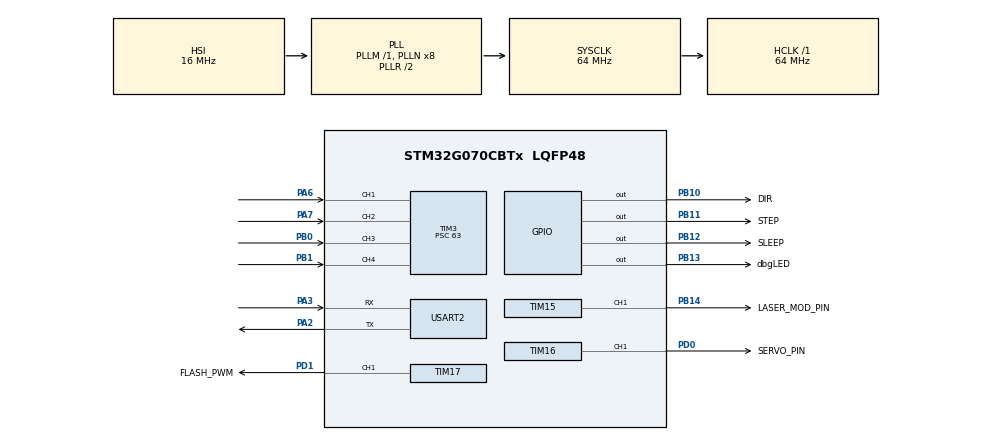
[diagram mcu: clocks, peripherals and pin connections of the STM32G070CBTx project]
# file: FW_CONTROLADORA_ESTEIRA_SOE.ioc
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Dma.Request0=TIM3_CH1
Dma.Request1=TIM3_CH2
Dma.Request2=TIM3_CH3
Dma.Request3=TIM3_CH4
Dma.TIM3_CH1.0.Direction=DMA_PERIPH_TO_MEMORY
Dma.TIM3_CH1.0.EventEnable=DISABLE
Dma.TIM3_CH1.0.Instance=DMA1_Channel1
Dma.TIM3_CH1.0.MemDataAlignment=DMA_MDATAALIGN_WORD
Dma.TIM3_CH1.0.MemInc=DMA_MINC_ENABLE
Dma.TIM3_CH1.0.Mode=DMA_NORMAL
Dma.TIM3_CH1.0.PeriphDataAlignment=DMA_PDATAALIGN_WORD
Dma.TIM3_CH1.0.PeriphInc=DMA_PINC_DISABLE
Dma.TIM3_CH1.0.Polarity=HAL_DMAMUX_REQ_GEN_RISING
Dma.TIM3_CH1.0.Priority=DMA_PRIORITY_LOW
Dma.TIM3_CH1.0.RequestNumber=1
Dma.TIM3_CH1.0.SignalID=NONE
Dma.TIM3_CH1.0.SyncEnable=DISABLE
Dma.TIM3_CH1.0.SyncPolarity=HAL_DMAMUX_SYNC_NO_EVENT
Dma.TIM3_CH1.0.SyncRequestNumber=1
Dma.TIM3_CH1.0.SyncSignalID=NONE
Dma.TIM3_CH2.1.Direction=DMA_PERIPH_TO_MEMORY
Dma.TIM3_CH2.1.EventEnable=DISABLE
Dma.TIM3_CH2.1.Instance=DMA1_Channel2
Dma.TIM3_CH2.1.MemDataAlignment=DMA_MDATAALIGN_WORD
Dma.TIM3_CH2.1.MemInc=DMA_MINC_ENABLE
Dma.TIM3_CH2.1.Mode=DMA_NORMAL
Dma.TIM3_CH2.1.PeriphDataAlignment=DMA_PDATAALIGN_WORD
Dma.TIM3_CH2.1.PeriphInc=DMA_PINC_DISABLE
Dma.TIM3_CH2.1.Polarity=HAL_DMAMUX_REQ_GEN_RISING
Dma.TIM3_CH2.1.Priority=DMA_PRIORITY_LOW
Dma.TIM3_CH2.1.RequestNumber=1
Dma.TIM3_CH2.1.SignalID=NONE
Dma.TIM3_CH2.1.SyncEnable=DISABLE
Dma.TIM3_CH2.1.SyncPolarity=HAL_DMAMUX_SYNC_NO_EVENT
Dma.TIM3_CH2.1.SyncRequestNumber=1
Dma.TIM3_CH2.1.SyncSignalID=NONE
Dma.TIM3_CH3.2.Direction=DMA_PERIPH_TO_MEMORY
Dma.TIM3_CH3.2.EventEnable=DISABLE
Dma.TIM3_CH3.2.Instance=DMA1_Channel3
Dma.TIM3_CH3.2.MemDataAlignment=DMA_MDATAALIGN_WORD
Dma.TIM3_CH3.2.MemInc=DMA_MINC_ENABLE
Dma.TIM3_CH3.2.Mode=DMA_NORMAL
Dma.TIM3_CH3.2.PeriphDataAlignment=DMA_PDATAALIGN_WORD
Dma.TIM3_CH3.2.PeriphInc=DMA_PINC_DISABLE
Dma.TIM3_CH3.2.Polarity=HAL_DMAMUX_REQ_GEN_RISING
Dma.TIM3_CH3.2.Priority=DMA_PRIORITY_LOW
Dma.TIM3_CH3.2.RequestNumber=1
Dma.TIM3_CH3.2.SignalID=NONE
Dma.TIM3_CH3.2.SyncEnable=DISABLE
Dma.TIM3_CH3.2.SyncPolarity=HAL_DMAMUX_SYNC_NO_EVENT
Dma.TIM3_CH3.2.SyncRequestNumber=1
Dma.TIM3_CH3.2.SyncSignalID=NONE
Dma.TIM3_CH4.3.Direction=DMA_PERIPH_TO_MEMORY
Dma.TIM3_CH4.3.EventEnable=DISABLE
Dma.TIM3_CH4.3.Instance=DMA1_Channel4
Dma.TIM3_CH4.3.MemDataAlignment=DMA_MDATAALIGN_WORD
Dma.TIM3_CH4.3.MemInc=DMA_MINC_ENABLE
Dma.TIM3_CH4.3.Mode=DMA_NORMAL
Dma.TIM3_CH4.3.PeriphDataAlignment=DMA_PDATAALIGN_WORD
Dma.TIM3_CH4.3.PeriphInc=DMA_PINC_DISABLE
Dma.TIM3_CH4.3.Polarity=HAL_DMAMUX_REQ_GEN_RISING
Dma.TIM3_CH4.3.Priority=DMA_PRIORITY_LOW
Dma.TIM3_CH4.3.RequestNumber=1
Dma.TIM3_CH4.3.SignalID=NONE
Dma.TIM3_CH4.3.SyncEnable=DISABLE
Dma.TIM3_CH4.3.SyncPolarity=HAL_DMAMUX_SYNC_NO_EVENT
Dma.TIM3_CH4.3.SyncRequestNumber=1
Dma.TIM3_CH4.3.SyncSignalID=NONE
Mcu.Family=STM32G0
Mcu.Name=STM32G070CBTx
Mcu.Package=LQFP48
NVIC.DMA1_Ch4_7_DMAMUX1_OVR_IRQn=true\:0\:0\:false\:false\:true\:false\:true\:true
NVIC.DMA1_Channel1_IRQn=true\:0\:0\:false\:false\:true\:false\:true\:true
NVIC.DMA1_Channel2_3_IRQn=true\:0\:0\:false\:false\:true\:false\:true\:true
NVIC.TIM6_IRQn=true\:0\:0\:false\:false\:true\:true\:true\:true
NVIC.USART2_IRQn=true\:0\:0\:false\:false\:true\:true\:true\:true
PA13.Mode=Serial_Wire
PA13.Signal=SYS_SWDIO
PA14-BOOT0.Mode=Serial_Wire
PA14-BOOT0.Signal=SYS_SWCLK
PA2.Mode=Asynchronous
PA2.Signal=USART2_TX
PA3.Mode=Asynchronous
PA3.Signal=USART2_RX
PA6.Signal=S_TIM3_CH1
PA7.Signal=S_TIM3_CH2
PB0.Signal=S_TIM3_CH3
PB1.Signal=S_TIM3_CH4
PB10.GPIO_Label=DIR
PB10.Signal=GPIO_Output
PB11.GPIO_Label=STEP
PB11.Signal=GPIO_Output
PB12.GPIO_Label=SLEEP
PB12.Signal=GPIO_Output
PB13.GPIO_Label=dbgLED
PB13.Signal=GPIO_Output
PB14.GPIO_Label=LASER_MOD_PIN
PB14.Signal=S_TIM15_CH1
PD0.GPIO_Label=SERVO_PIN
PD0.Signal=S_TIM16_CH1
PD1.GPIO_Label=FLASH_PWM
PD1.Signal=S_TIM17_CH1
ProjectManager.HeapSize=0x200
ProjectManager.StackSize=0x400
ProjectManager.TargetToolchain=STM32CubeIDE
RCC.ADCFreq_Value=64000000
RCC.AHBFreq_Value=64000000
RCC.CortexFreq_Value=64000000
RCC.EXTERNAL_CLOCK_VALUE=48000
RCC.HCLKFreq_Value=64000000
RCC.HSE_VALUE=8000000
RCC.HSI_VALUE=16000000
RCC.LSE_VALUE=32768
RCC.SYSCLKFreq_VALUE=64000000
RCC.SYSCLKSource=RCC_SYSCLKSOURCE_PLLCLK
RCC.VCOOutputFreq_Value=128000000
SH.S_TIM15_CH1.0=TIM15_CH1,PWM Generation1 CH1
SH.S_TIM16_CH1.0=TIM16_CH1,PWM Generation1 CH1
SH.S_TIM17_CH1.0=TIM17_CH1,PWM Generation1 CH1
SH.S_TIM3_CH1.0=TIM3_CH1,Input_Capture1_from_TI1
SH.S_TIM3_CH2.0=TIM3_CH2,Input_Capture2_from_TI2
SH.S_TIM3_CH3.0=TIM3_CH3,Input_Capture3_from_TI3
SH.S_TIM3_CH4.0=TIM3_CH4,Input_Capture4_from_TI4
TIM15.AutoReloadPreload=TIM_AUTORELOAD_PRELOAD_ENABLE
TIM15.Channel-PWM\ Generation1\ CH1=TIM_CHANNEL_1
TIM15.Channel-PWM\ Generation2\ CH2=TIM_CHANNEL_2
TIM15.Period=49
TIM15.Prescaler=6399
TIM16.Channel=TIM_CHANNEL_1
TIM16.Period=19999
TIM16.Prescaler=63
TIM17.Channel=TIM_CHANNEL_1
TIM17.Period=999
TIM17.Prescaler=63
TIM3.Channel-Input_Capture1_from_TI1=TIM_CHANNEL_1
TIM3.Channel-Input_Capture2_from_TI2=TIM_CHANNEL_2
TIM3.Channel-Input_Capture3_from_TI3=TIM_CHANNEL_3
TIM3.Channel-Input_Capture4_from_TI4=TIM_CHANNEL_4
TIM3.ICPolarity_CH1=TIM_INPUTCHANNELPOLARITY_FALLING
TIM3.ICPolarity_CH2=TIM_INPUTCHANNELPOLARITY_FALLING
TIM3.ICPolarity_CH3=TIM_INPUTCHANNELPOLARITY_FALLING
TIM3.ICPolarity_CH4=TIM_INPUTCHANNELPOLARITY_FALLING
TIM3.Prescaler=63
TIM6.AutoReloadPreload=TIM_AUTORELOAD_PRELOAD_ENABLE
TIM6.Prescaler=63
TIM6.TIM_MasterOutputTrigger=TIM_TRGO_RESET
USART2.VirtualMode-Asynchronous=VM_ASYNC
VP_TIM15_VS_ClockSourceINT.Mode=Internal
VP_TIM16_VS_ClockSourceINT.Mode=Enable_Timer
VP_TIM17_VS_ClockSourceINT.Mode=Enable_Timer
VP_TIM3_VS_ClockSourceINT.Mode=Internal
VP_TIM6_VS_ClockSourceINT.Mode=Enable_Timer
board=custom

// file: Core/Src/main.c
/* USER CODE BEGIN Header */
/**
  ******************************************************************************
  * @file           : main.c
  * @brief          : Corpo do programa principal
  ******************************************************************************
  * 	TRABALHO FINAL - SISTEMAS OPERACIONAIS EMBARCADOS - SOE
  * 			FIRMWARE EMBARCADO - ESTEIRA SEPARADORA
  *
  * 		Semestre: 2026.1
  * 		Autor: Paulo Caleb Fernandes da Silva
  * 		Co-Autor: Felipe de Castro
  *
  * Objetivo: Gerenciar o Hardware embarcado na esteira para controlar os sensores
  *			  e atuadores previstos no esquemático, abrindo uma porta de comunicação UART
  * 		  para comunicação entre o hardware embarcado na esteira e o software embarcado
  * 	      no Raspberry pi 3;
  * 		  O sistema controlado pelo presente firmware não realiza a escolha do destino do
  * 		  objeto sobre a esteira, apenas segue comandos e executa a ação. O processamento
  * 		  de alto nível de abstração (imagem) ocorre no SBC Raspberry Pi 3b, que é responsável
  * 		  por definir a rota e comandar o hardware da esteira (controlado pelo presente firmware) por UART;
  *
  * 		  O presente firmware utiliza os Driversa HAL,
  * 		  disponibilizados industrialmente pela STMicroelectronics
  * 	      para a família de microcontroladores STM32.
  *
  * Informações técnicas:	Fcpu: 64MHz;
  * 			     		As GPIOs configuram os pinos de controle do driver do motor de passo;
  * 			    		O timer 15 é usado para a modulação dos lasers (PWM fixo);
  * 			    		O timer 3 é usado para o frequencímetro dos sensores (Input capture);
  * 			    		O timer16 é usado para o controle do servo motor (PWM com duty variável);
  * 			    		O timer 6 é usado para o controle do motor de passo (interrupção interna);
  * 			    		O timer 17 é usado para o PWM de brilho variável do flash (fade-in/fade-out);
  * @attention
  *
  * Copyright (c) 2026 STMicroelectronics.
  * All rights reserved.
  *
  * This software is licensed under terms that can be found in the LICENSE file
  * in the root directory of this software component.
  * If no LICENSE file comes with this software, it is provided AS-IS.
  *
  ******************************************************************************
  */
/* USER CODE END Header */
#include "main.h"

/* USER CODE BEGIN Includes */
#include <stdio.h>
/* USER CODE END Includes */

/* USER CODE BEGIN PD */

/*----------------------------QUADRO DE COMUNICAÇÃO---------------------------*/
// Estrutura do quadro
#define START_FRAME_MSG         0xAA
#define CMD_OK_MSG              0x90
#define CMD_ERR_MSG             0x91
// Handshake
#define SYS_RDY_MSG             0x10
#define SYS_INIT_MSG            0x01
// FSM - RX
#define ROUTE_A_RECEIVE_MSG     0xDA
#define ROUTE_B_RECEIVE_MSG     0xDB
// FSM - TX
#define OBJ_DETECTED_MSG        0xA0
#define CLSS_REQUEST_MSG        0xC0
#define ROUTE_A_FWRDNG_MSG      0xFA
#define ROUTE_B_FWRDNG_MSG      0xFB
#define ROUTE_A_SCCSS_DLVRY_MSG 0xBA
#define ROUTE_B_SCCSS_DLVRY_MSG 0xBB
// Controle assíncrono - RX
#define LIGHT_EN_MSG            0xE1
#define LIGHT_DISABLE_MSG       0xD1
#define GATE_OPEN_MSG           0xE2
#define GATE_CLOSE_MSG          0xD2
#define STPR_EN_MSG             0xE3
#define STPR_DISABLE_MSG        0xD3
#define SET_STPR_FORWARD_MSG    0xE4
#define SET_STPR_BACKWARD_MSG   0xD4
#define SET_STPR_TGT_STPS_MSG   0xE5
// Modo de operação
#define DEBUG_MODE_TOGGLE_MSG   0xDD
#define MODE_FSM_MSG            0x11
#define MODE_DEBUG_MSG          0x22
#define SW_RESET_MSG            0x33
// Telemetria de sensores
#define SENS_STATUS_MSG         0x55

/*----------------------------SERVO MOTOR-------------------------------------*/
#define SERVO_MIN_US 600	//Menor faixa de pulso do servo (em us)
#define SERVO_MAX_US 2300	//Maior faixa de pulso do servo (em us)
#define SERVO_MAX_ANGLE 180	//Mior ângulo do servo (em graus)
#define SERVO_MIN_ANGLE 0	//Menor ângulo do servo (em graus)
/*----------------------------MOTOR DE-PASSO----------------------------------*/
#define TIM6_FREQUENCY 1000000	//Frequencia de trabalho do timer 6
#define STEPPER_MAX_VEL 420	//Velocidade máxima do motor em passos/s (ajustar para valor real)
#define STEPPER_MIN_VEL 300//Velocidade mínima do motor em passos/s

/* USER CODE END PD */

TIM_HandleTypeDef htim3;
TIM_HandleTypeDef htim6;
TIM_HandleTypeDef htim15;
TIM_HandleTypeDef htim16;
TIM_HandleTypeDef htim17;
DMA_HandleTypeDef hdma_tim3_ch1;
DMA_HandleTypeDef hdma_tim3_ch2;
DMA_HandleTypeDef hdma_tim3_ch3;
DMA_HandleTypeDef hdma_tim3_ch4;

UART_HandleTypeDef huart2;

/* USER CODE BEGIN PV */
/*----------------------------SERVO MOTOR-------------------------------------*/
volatile uint8_t angle = 0;
uint8_t openAngle = 45;
uint8_t closeAngle = 0;
/*----------------------------MOTOR DE-PASSO----------------------------------*/
volatile uint8_t pulse_ctrl = 1; //flag que controla o disparo dos pulsos
volatile uint8_t movement_done_flag = 0; //Flag de movimento concluído do motor de passo
volatile uint32_t targetStepps = 0; //Globbal que armazena a quantidade de passos a serem dados pelo motor
volatile uint32_t stepperEN = 1; //Controla o acionamento do motor de passo
volatile uint8_t stepperDirInst = 0; //Define a direção do motor de passo instantâneamente
/*----------------------------SENSORES LASER----------------------------------*/
uint32_t sensUPDT = 10; //Período de captura dos sensores (em ms), esse valor deve ser no mínimo o dobro do período do sinal da portadora (TIM15)
uint32_t nowTick = 0;//Auxiliar para a contagem do tempo
//
uint32_t inputCapture_SENS1[2];//Captura duas bordas de descida do sensor 1
uint32_t SENS1_capture = 0;//Diferenca entre a ultima e a primeira capturas de bordas
uint32_t SENS1_freq = 0;//Frequencia instantânea do sensor
uint8_t  SENS1_flag = 0;//Flag de controle do sensor
//
uint32_t inputCapture_SENS2[2];//Captura duas bordas de descida do sensor 2
uint32_t SENS2_capture = 0;//Diferenca entre a ultima e a primeira capturas de bordas
uint32_t SENS2_freq = 0;//Frequencia instantânea do sensor
uint8_t  SENS2_flag = 0;//Flag de controle do sensor
//
uint32_t inputCapture_SENS3[2];//Captura duas bordas de descida do sensor 3
uint32_t SENS3_capture = 0;//Diferenca entre a ultima e a primeira capturas de bordas
uint32_t SENS3_freq = 0;//Frequencia instantânea do sensor
uint8_t  SENS3_flag = 0;//Flag de controle do sensor
//
uint32_t inputCapture_SENS4[2];//Captura duas bordas de descida do sensor 4
uint32_t SENS4_capture = 0;//Diferenca entre a ultima e a primeira capturas de bordas
uint32_t SENS4_freq = 0;//Frequencia instantânea do sensor
uint8_t  SENS4_flag = 0;//Flag de controle do sensor
//
uint8_t sensStatusByte     = 0x00; // STATUS_BYTE atual (bits 0-3 = flags SENS1-4)
uint8_t sensStatusByteLast = 0xFF; // Valor anterior; 0xFF força envio na primeira iteração

/*------------------------MÁQUINA DE ESTADOS FINITOS----------------------------------*/
typedef enum {
    STATE_IDLE = 0,
    STATE_OBJECT_DETECTED = 1,
    STATE_WAIT_CLASSIFICATION = 2,
    STATE_ROUTE_A = 3,
    STATE_ROUTE_B = 4,
	STATE_NONE = 255  // sentinela: força entry action na primeira execução
} FSM_State_t;

FSM_State_t state = STATE_IDLE;
FSM_State_t last_state = STATE_NONE; // força execução inicial

/*----------------------------MODO DE OPERAÇÃO--------------------------------*/
typedef enum {
    OP_MODE_FSM   = 0,  // Modo normal: FSM rodando
    OP_MODE_DEBUG = 1   // Modo debug: apenas comandos assíncronos
} OperationMode_t;

volatile OperationMode_t operationMode = OP_MODE_FSM; // Inicia em modo FSM

/*----------------------------RECEPÇÃO DE FRAME UART--------------------------*/
typedef enum {
    RX_WAIT_START = 0,  // Aguardando byte 0xAA
    RX_WAIT_CMD   = 1,  // Aguardando byte de comando
    RX_WAIT_DATA  = 2   // Aguardando byte de dado (só SET_STPR_TGT_STPS_MSG)
} RxFrameState_t;

volatile RxFrameState_t rxFrameState = RX_WAIT_START;
volatile uint8_t rxPendingCMD  = 0x00; // CMD do frame em montagem
volatile uint8_t rxFrameReady  = 0;    // Flag: frame completo pronto para processar
volatile uint8_t rxCMD         = 0x00; // CMD do último frame completo recebido
volatile uint8_t rxDATA        = 0x00; // DATA do último frame completo (se houver)
/*--------------------------FLAGS DE TRANSMISSÃO-------------------*/
//tx
uint8_t objDetectedMSG_flag = 0;//Flag de controle da mensagem de objeto detectado
uint8_t classificationRequestMSG_flag = 0;//Flag de controle da mensagem de solicitação de destino
uint8_t routeAforwardingMSG_flag = 0;//Flag de controle da mensagem de encaminhamento para a rota A
uint8_t routeBforwardingMSG_flag = 0;//Flag de controle da mensagem de encaminhamento para a rota B
uint8_t routeASuccesDeliveryMSG_flag = 0;//Flag de controle da mensagem de sucesso na entrega para a rota A
uint8_t routeBSuccesDeliveryMSG_flag = 0;//Flag de controle da mensagem de sucesso na entrega para a rota B

/*----------------------------FLASH PWM SWEEP---------------------------------*/
#define FLASH_SWEEP_MIN    50   // Duty mínimo (brilho mínimo ~5%)
#define FLASH_SWEEP_MAX    950  // Duty máximo (brilho máximo ~95%)
#define FLASH_SWEEP_STEP   10    // Incremento por chamada (velocidade do fade)
#define FLASH_SWEEP_PERIOD 20     // Intervalo entre passos em ms

uint32_t flashSweep_duty    = FLASH_SWEEP_MIN;
int8_t   flashSweep_dir     = 1;
uint32_t flashSweep_lastTick = 0;
/* USER CODE END PV */

void SystemClock_Config(void);
static void MX_GPIO_Init(void);
static void MX_DMA_Init(void);
static void MX_TIM15_Init(void);
static void MX_TIM3_Init(void);
static void MX_TIM16_Init(void);
static void MX_TIM6_Init(void);
static void MX_USART2_UART_Init(void);
static void MX_TIM17_Init(void);
/* USER CODE BEGIN PFP */
void getSensorsReadings();//Obtém a leitura dos sensores laser
void SetServoAngle(uint16_t angle); //Seta o angulo do motor de passo
void stepperMove(uint32_t steps, uint8_t direction);//Move o motor de passo uma quantidade de passos em um sentido definido
void stepperSetSpeed(uint32_t steppsPerSeconds);//Define a velocidade do motor de passo
void stepperStopDisengaged();//Para o motor com o eixo livre
void stepperStopEngaged();//Para o motor com o eixo travado
void stepperFollowSteps();//Asegue a quantidade de passos definida por stepperMove
void STEPPER_TIM6_ISR();//Interrupção responsável por controlar o motor de passo
void handleModeToggle(void); // Verifica e processa o comando de troca de modo
void handleAsyncCommands(void); // Executa os comandos assíncronos
void FSM();	//Executa a máquina de estados finitos
void sendFrame(uint8_t status, uint8_t payload); //Executa a montagem e o envio do quadro de TX para as mensagens espontâneas
void telemetryFrame(uint8_t status, uint8_t cmd, uint8_t data); //Executa a montagem do quadro de TX da telemetria dos sensores
void sendTelemetryData(void); //Faz a tomada de decisão para o envio dos dados de telemetria
void flashPWM_Start(void); // Inicia PWM do flash via TIM17
void flashPWM_Stop(void);           // Para PWM do flash
void flashPWM_Sweep(void);          // Atualiza fade-in/fade-out do flash
/* USER CODE END PFP */

/* USER CODE BEGIN 0 */
/*--------------------RECEPÇÃO DE FRAME UART------------------------------*/
uint8_t rxBuffer [5];
void HAL_UART_RxCpltCallback(UART_HandleTypeDef *huart){
	HAL_UART_Receive_IT(&huart2, rxBuffer, 1);
	    uint8_t byte = rxBuffer[0];

	    switch(rxFrameState){
	        case RX_WAIT_START:
	            if(byte == START_FRAME_MSG){        // 0xAA
	                rxFrameState = RX_WAIT_CMD;
	            }
	            // Qualquer outro byte fora de frame é ignorado silenciosamente
	            break;

	        case RX_WAIT_CMD:
	            rxPendingCMD = byte;
	            if(byte == SET_STPR_TGT_STPS_MSG){  // 0xE5 — espera DATA a seguir
	                rxFrameState = RX_WAIT_DATA;
	            } else {
	                // Frame de 2 bytes completo
	                rxCMD        = rxPendingCMD;
	                rxDATA       = 0x00;
	                rxFrameReady = 1;
	                rxFrameState = RX_WAIT_START;
	            }
	            break;

	        case RX_WAIT_DATA:
	            // Frame de 3 bytes completo
	            rxCMD        = rxPendingCMD;
	            rxDATA       = byte;
	            rxFrameReady = 1;
	            rxFrameState = RX_WAIT_START;
	            break;
	    }
}

/*--------------------TRANSMISSÃO DE FRAME UART------------------------------*/
/**
 * @brief Envia um frame TX padronizado.
 *
 * Resposta a comando RX:  sendFrame(CMD_OK_MSG,  cmdEco)   → [0x90][cmdEco]
 * Erro de reconhecimento: sendFrame(CMD_ERR_MSG, 0x00)     → [0x91]
 * Mensagem espontânea:    sendFrame(CMD_OK_MSG,  MSG_BYTE) → [0x90][MSG_BYTE]
 */
void sendFrame(uint8_t status, uint8_t payload){
    uint8_t frame[2];
    frame[0] = status;
    frame[1] = payload;

    if(status == CMD_ERR_MSG){
        HAL_UART_Transmit(&huart2, frame, 1, 1000); // CMD_ERR é single-byte
    } else {
        HAL_UART_Transmit(&huart2, frame, 2, 1000); // CMD_OK sempre com eco
    }
}

/**
 * @brief Envia frame de 3 bytes: [status][cmd][data]
 * Usado pela telemetria de sensores:
 *   telemetryFrame(CMD_OK_MSG, SENS_STATUS_MSG, statusByte)
 */
void telemetryFrame(uint8_t status, uint8_t cmd, uint8_t data){
    uint8_t frame[3];
    frame[0] = status;
    frame[1] = cmd;
    frame[2] = data;
    HAL_UART_Transmit(&huart2, frame, 3, 1000);
}

/**
 * @brief Envia telemetria dos 4 sensores laser.
 *
 * Só executa no modo Debug (OP_MODE_DEBUG).
 * Só envia quando o STATUS_BYTE mudar em relação à última transmissão,
 * evitando flood no barramento UART.
 *
 * STATUS_BYTE:
 *   bit 0 → SENS1_flag  (1 = objeto detectado, 0 = feixe livre)
 *   bit 1 → SENS2_flag
 *   bit 2 → SENS3_flag
 *   bit 3 → SENS4_flag
 *   bits 4-7 → reservados (0)
 *
 * Frame enviado: [0x90][0x55][STATUS_BYTE]
 */
void sendTelemetryData(void){
    if(operationMode != OP_MODE_DEBUG) return; // Só no modo debug

    sensStatusByte = (SENS1_flag & 0x01)        |
                     ((SENS2_flag & 0x01) << 1)  |
                     ((SENS3_flag & 0x01) << 2)  |
                     ((SENS4_flag & 0x01) << 3);

    if(sensStatusByte != sensStatusByteLast){   // Só envia se mudou
        telemetryFrame(CMD_OK_MSG, SENS_STATUS_MSG, sensStatusByte);
        sensStatusByteLast = sensStatusByte;
    }
}

/* USER CODE END 0 */

int main(void)
{

  /* MCU Configuration--------------------------------------------------------*/

  /* Reset of all peripherals, Initializes the Flash interface and the Systick. */
  HAL_Init();

  /* Configure the system clock */
  SystemClock_Config();

  /* USER CODE BEGIN SysInit */
  //Todos os SysInit foram incluídos nos trechos de configuração dos respectivos periféricos
  /* USER CODE END SysInit */

  /* Initialize all configured peripherals */
  MX_GPIO_Init();
  MX_DMA_Init();
  MX_TIM15_Init();
  MX_TIM3_Init();
  MX_TIM16_Init();
  MX_TIM6_Init();
  MX_USART2_UART_Init();
  MX_TIM17_Init();
  /* USER CODE BEGIN 2 */

  HAL_UART_Receive_IT(&huart2, rxBuffer, 1);

  //Aguarda a inicialização dos sensores
  uint8_t start = 0;
  uint8_t sensorsInit = 0;
  uint32_t dbgLedBlink = 0;
  while(!start){
	  stepperStopDisengaged();
	  getSensorsReadings();
	  if(SENS1_freq == 200 && SENS2_freq == 200 && SENS3_freq == 200 && SENS4_freq == 200 ){
		  sensorsInit = 1;
	  }
	  if(sensorsInit && rxFrameReady && rxCMD == SYS_RDY_MSG){
	      rxFrameReady = 0;
	      sendFrame(CMD_OK_MSG, SYS_INIT_MSG); //Informa ao RBPi3 que o sistema iniciou (fim do Handshake)
	      sendFrame(CMD_OK_MSG, MODE_FSM_MSG); //Por default inicia em modo FSM
	      HAL_GPIO_WritePin(dbgLED_GPIO_Port, dbgLED_Pin, GPIO_PIN_RESET);//Desliga o led
	      start = 1;
	  }
	  //Blink do LED de debug: pisca rápido se for identificado falha nos sensores, pisca devagar se estiver esperando o handshake do RBPi3
	  if(HAL_GetTick() - dbgLedBlink > (sensorsInit ? 500 : 100)){
			HAL_GPIO_TogglePin(dbgLED_GPIO_Port, dbgLED_Pin); // Assumindo LED no PA5 (comum em NUCLEO)
			dbgLedBlink = HAL_GetTick();
		}
  }
  /* USER CODE END 2 */

  /* Infinite loop */
  /* USER CODE BEGIN WHILE */
  while (1)
  {
	  getSensorsReadings(); //Obtém as leituras dos sensores
	  sendTelemetryData(); //Chamada da função para envio da telemetria (ocorre somente em modo debug)
	  handleModeToggle();      // 1º: verifica troca de modo (sempre, em qualquer modo)

	    if(operationMode == OP_MODE_DEBUG){
	        handleAsyncCommands(); // Modo debug: só comandos assíncronos
	        //SetServoAngle(angle); //Aciona o servo com stlink no modo debug
	    } else {
	        FSM();                 // Modo normal: FSM completa
	    }

	    //Verificação para a transmissão das mensagens
	    if(objDetectedMSG_flag){
	        objDetectedMSG_flag = 0;
	        sendFrame(CMD_OK_MSG, OBJ_DETECTED_MSG);
	    }
	    if(classificationRequestMSG_flag){
	        classificationRequestMSG_flag = 0;
	        sendFrame(CMD_OK_MSG, CLSS_REQUEST_MSG);
	    }
	    if(routeAforwardingMSG_flag){
	        routeAforwardingMSG_flag = 0;
	        sendFrame(CMD_OK_MSG, ROUTE_A_FWRDNG_MSG);
	    }
	    if(routeBforwardingMSG_flag){
	        routeBforwardingMSG_flag = 0;
	        sendFrame(CMD_OK_MSG, ROUTE_B_FWRDNG_MSG);
	    }
	    if(routeASuccesDeliveryMSG_flag){
	        routeASuccesDeliveryMSG_flag = 0;
	        sendFrame(CMD_OK_MSG, ROUTE_A_SCCSS_DLVRY_MSG);
	    }
	    if(routeBSuccesDeliveryMSG_flag){
	        routeBSuccesDeliveryMSG_flag = 0;
	        sendFrame(CMD_OK_MSG, ROUTE_B_SCCSS_DLVRY_MSG);
	    }
    /* USER CODE END WHILE */

  }
}

void SystemClock_Config(void)
{
  RCC_OscInitTypeDef RCC_OscInitStruct = {0};
  RCC_ClkInitTypeDef RCC_ClkInitStruct = {0};

  /** Configure the main internal regulator output voltage
  */
  HAL_PWREx_ControlVoltageScaling(PWR_REGULATOR_VOLTAGE_SCALE1);

  /** Initializes the RCC Oscillators according to the specified parameters
  * in the RCC_OscInitTypeDef structure.
  */
  RCC_OscInitStruct.OscillatorType = RCC_OSCILLATORTYPE_HSI;
  RCC_OscInitStruct.HSIState = RCC_HSI_ON;
  RCC_OscInitStruct.HSIDiv = RCC_HSI_DIV1;
  RCC_OscInitStruct.HSICalibrationValue = RCC_HSICALIBRATION_DEFAULT;
  RCC_OscInitStruct.PLL.PLLState = RCC_PLL_ON;
  RCC_OscInitStruct.PLL.PLLSource = RCC_PLLSOURCE_HSI;
  RCC_OscInitStruct.PLL.PLLM = RCC_PLLM_DIV1;
  RCC_OscInitStruct.PLL.PLLN = 8;
  RCC_OscInitStruct.PLL.PLLP = RCC_PLLP_DIV2;
  RCC_OscInitStruct.PLL.PLLR = RCC_PLLR_DIV2;
  if (HAL_RCC_OscConfig(&RCC_OscInitStruct) != HAL_OK)
  {
    Error_Handler();
  }

  /** Initializes the CPU, AHB and APB buses clocks
  */
  RCC_ClkInitStruct.ClockType = RCC_CLOCKTYPE_HCLK|RCC_CLOCKTYPE_SYSCLK
                              |RCC_CLOCKTYPE_PCLK1;
  RCC_ClkInitStruct.SYSCLKSource = RCC_SYSCLKSOURCE_PLLCLK;
  RCC_ClkInitStruct.AHBCLKDivider = RCC_SYSCLK_DIV1;
  RCC_ClkInitStruct.APB1CLKDivider = RCC_HCLK_DIV1;

  if (HAL_RCC_ClockConfig(&RCC_ClkInitStruct, FLASH_LATENCY_2) != HAL_OK)
  {
    Error_Handler();
  }
}

static void MX_TIM3_Init(void)
{

  TIM_ClockConfigTypeDef sClockSourceConfig = {0};
  TIM_MasterConfigTypeDef sMasterConfig = {0};
  TIM_IC_InitTypeDef sConfigIC = {0};

  htim3.Instance = TIM3;
  htim3.Init.Prescaler = 63;
  htim3.Init.CounterMode = TIM_COUNTERMODE_UP;
  htim3.Init.Period = 65535;
  htim3.Init.ClockDivision = TIM_CLOCKDIVISION_DIV1;
  htim3.Init.AutoReloadPreload = TIM_AUTORELOAD_PRELOAD_DISABLE;
  if (HAL_TIM_Base_Init(&htim3) != HAL_OK)
  {
    Error_Handler();
  }
  sClockSourceConfig.ClockSource = TIM_CLOCKSOURCE_INTERNAL;
  if (HAL_TIM_ConfigClockSource(&htim3, &sClockSourceConfig) != HAL_OK)
  {
    Error_Handler();
  }
  if (HAL_TIM_IC_Init(&htim3) != HAL_OK)
  {
    Error_Handler();
  }
  sMasterConfig.MasterOutputTrigger = TIM_TRGO_RESET;
  sMasterConfig.MasterSlaveMode = TIM_MASTERSLAVEMODE_DISABLE;
  if (HAL_TIMEx_MasterConfigSynchronization(&htim3, &sMasterConfig) != HAL_OK)
  {
    Error_Handler();
  }
  sConfigIC.ICPolarity = TIM_INPUTCHANNELPOLARITY_FALLING;
  sConfigIC.ICSelection = TIM_ICSELECTION_DIRECTTI;
  sConfigIC.ICPrescaler = TIM_ICPSC_DIV1;
  sConfigIC.ICFilter = 0;
  if (HAL_TIM_IC_ConfigChannel(&htim3, &sConfigIC, TIM_CHANNEL_1) != HAL_OK)
  {
    Error_Handler();
  }
  if (HAL_TIM_IC_ConfigChannel(&htim3, &sConfigIC, TIM_CHANNEL_2) != HAL_OK)
  {
    Error_Handler();
  }
  if (HAL_TIM_IC_ConfigChannel(&htim3, &sConfigIC, TIM_CHANNEL_3) != HAL_OK)
  {
    Error_Handler();
  }
  if (HAL_TIM_IC_ConfigChannel(&htim3, &sConfigIC, TIM_CHANNEL_4) != HAL_OK)
  {
    Error_Handler();
  }

}

static void MX_TIM6_Init(void)
{

  TIM_MasterConfigTypeDef sMasterConfig = {0};

  htim6.Instance = TIM6;
  htim6.Init.Prescaler = 63;
  htim6.Init.CounterMode = TIM_COUNTERMODE_UP;
  htim6.Init.Period = 65535;
  htim6.Init.AutoReloadPreload = TIM_AUTORELOAD_PRELOAD_ENABLE;
  if (HAL_TIM_Base_Init(&htim6) != HAL_OK)
  {
    Error_Handler();
  }
  sMasterConfig.MasterOutputTrigger = TIM_TRGO_RESET;
  sMasterConfig.MasterSlaveMode = TIM_MASTERSLAVEMODE_DISABLE;
  if (HAL_TIMEx_MasterConfigSynchronization(&htim6, &sMasterConfig) != HAL_OK)
  {
    Error_Handler();
  }
  /* USER CODE BEGIN TIM6_Init 2 */
  HAL_TIM_Base_Start_IT(&htim6);	//Habilita a interrupção do timer 6
  stepperSetSpeed(STEPPER_MIN_VEL); //Define a velocidade mínima para o motor de passo
  stepperFollowSteps();	//Ativa o modo seguidor de passos
  /* USER CODE END TIM6_Init 2 */

}

static void MX_TIM15_Init(void)
{

  TIM_ClockConfigTypeDef sClockSourceConfig = {0};
  TIM_MasterConfigTypeDef sMasterConfig = {0};
  TIM_OC_InitTypeDef sConfigOC = {0};
  TIM_BreakDeadTimeConfigTypeDef sBreakDeadTimeConfig = {0};

  htim15.Instance = TIM15;
  htim15.Init.Prescaler = 6399;
  htim15.Init.CounterMode = TIM_COUNTERMODE_UP;
  htim15.Init.Period = 49;
  htim15.Init.ClockDivision = TIM_CLOCKDIVISION_DIV1;
  htim15.Init.RepetitionCounter = 0;
  htim15.Init.AutoReloadPreload = TIM_AUTORELOAD_PRELOAD_ENABLE;
  if (HAL_TIM_Base_Init(&htim15) != HAL_OK)
  {
    Error_Handler();
  }
  sClockSourceConfig.ClockSource = TIM_CLOCKSOURCE_INTERNAL;
  if (HAL_TIM_ConfigClockSource(&htim15, &sClockSourceConfig) != HAL_OK)
  {
    Error_Handler();
  }
  if (HAL_TIM_PWM_Init(&htim15) != HAL_OK)
  {
    Error_Handler();
  }
  sMasterConfig.MasterOutputTrigger = TIM_TRGO_RESET;
  sMasterConfig.MasterSlaveMode = TIM_MASTERSLAVEMODE_DISABLE;
  if (HAL_TIMEx_MasterConfigSynchronization(&htim15, &sMasterConfig) != HAL_OK)
  {
    Error_Handler();
  }
  sConfigOC.OCMode = TIM_OCMODE_PWM1;
  sConfigOC.Pulse = 0;
  sConfigOC.OCPolarity = TIM_OCPOLARITY_HIGH;
  sConfigOC.OCNPolarity = TIM_OCNPOLARITY_HIGH;
  sConfigOC.OCFastMode = TIM_OCFAST_DISABLE;
  sConfigOC.OCIdleState = TIM_OCIDLESTATE_RESET;
  sConfigOC.OCNIdleState = TIM_OCNIDLESTATE_RESET;
  if (HAL_TIM_PWM_ConfigChannel(&htim15, &sConfigOC, TIM_CHANNEL_1) != HAL_OK)
  {
    Error_Handler();
  }
  sBreakDeadTimeConfig.OffStateRunMode = TIM_OSSR_DISABLE;
  sBreakDeadTimeConfig.OffStateIDLEMode = TIM_OSSI_DISABLE;
  sBreakDeadTimeConfig.LockLevel = TIM_LOCKLEVEL_OFF;
  sBreakDeadTimeConfig.DeadTime = 0;
  sBreakDeadTimeConfig.BreakState = TIM_BREAK_DISABLE;
  sBreakDeadTimeConfig.BreakPolarity = TIM_BREAKPOLARITY_HIGH;
  sBreakDeadTimeConfig.BreakFilter = 0;
  sBreakDeadTimeConfig.AutomaticOutput = TIM_AUTOMATICOUTPUT_DISABLE;
  if (HAL_TIMEx_ConfigBreakDeadTime(&htim15, &sBreakDeadTimeConfig) != HAL_OK)
  {
    Error_Handler();
  }
  /* USER CODE BEGIN TIM15_Init 2 */
  HAL_TIM_MspPostInit(&htim15);
  HAL_TIM_Base_Start(&htim15);
  HAL_TIM_PWM_Start(&htim15, TIM_CHANNEL_1);	//Inicia o modo PWM
  __HAL_TIM_SET_COMPARE(&htim15, TIM_CHANNEL_1, 25); //Seta o PWM para 50 por cento a partir do CCR

  /* USER CODE END TIM15_Init 2 */
  HAL_TIM_MspPostInit(&htim15);

}

static void MX_TIM16_Init(void)
{

  TIM_OC_InitTypeDef sConfigOC = {0};
  TIM_BreakDeadTimeConfigTypeDef sBreakDeadTimeConfig = {0};

  htim16.Instance = TIM16;
  htim16.Init.Prescaler = 63;
  htim16.Init.CounterMode = TIM_COUNTERMODE_UP;
  htim16.Init.Period = 19999;
  htim16.Init.ClockDivision = TIM_CLOCKDIVISION_DIV1;
  htim16.Init.RepetitionCounter = 0;
  htim16.Init.AutoReloadPreload = TIM_AUTORELOAD_PRELOAD_DISABLE;
  if (HAL_TIM_Base_Init(&htim16) != HAL_OK)
  {
    Error_Handler();
  }
  if (HAL_TIM_PWM_Init(&htim16) != HAL_OK)
  {
    Error_Handler();
  }
  sConfigOC.OCMode = TIM_OCMODE_PWM1;
  sConfigOC.Pulse = 0;
  sConfigOC.OCPolarity = TIM_OCPOLARITY_HIGH;
  sConfigOC.OCNPolarity = TIM_OCNPOLARITY_HIGH;
  sConfigOC.OCFastMode = TIM_OCFAST_DISABLE;
  sConfigOC.OCIdleState = TIM_OCIDLESTATE_RESET;
  sConfigOC.OCNIdleState = TIM_OCNIDLESTATE_RESET;
  if (HAL_TIM_PWM_ConfigChannel(&htim16, &sConfigOC, TIM_CHANNEL_1) != HAL_OK)
  {
    Error_Handler();
  }
  sBreakDeadTimeConfig.OffStateRunMode = TIM_OSSR_DISABLE;
  sBreakDeadTimeConfig.OffStateIDLEMode = TIM_OSSI_DISABLE;
  sBreakDeadTimeConfig.LockLevel = TIM_LOCKLEVEL_OFF;
  sBreakDeadTimeConfig.DeadTime = 0;
  sBreakDeadTimeConfig.BreakState = TIM_BREAK_DISABLE;
  sBreakDeadTimeConfig.BreakPolarity = TIM_BREAKPOLARITY_HIGH;
  sBreakDeadTimeConfig.BreakFilter = 0;
  sBreakDeadTimeConfig.AutomaticOutput = TIM_AUTOMATICOUTPUT_DISABLE;
  if (HAL_TIMEx_ConfigBreakDeadTime(&htim16, &sBreakDeadTimeConfig) != HAL_OK)
  {
    Error_Handler();
  }
  /* USER CODE BEGIN TIM16_Init 2 */
  HAL_TIM_MspPostInit(&htim16);
  HAL_TIM_Base_Start(&htim16);
  HAL_TIM_PWM_Start(&htim16, TIM_CHANNEL_1);	//Inicia o modo PWM do servo
  SetServoAngle(0); //Coloca o servo na posição inicial

  /* USER CODE END TIM16_Init 2 */
  HAL_TIM_MspPostInit(&htim16);

}

static void MX_TIM17_Init(void)
{

  TIM_OC_InitTypeDef sConfigOC = {0};
  TIM_BreakDeadTimeConfigTypeDef sBreakDeadTimeConfig = {0};

  htim17.Instance = TIM17;
  htim17.Init.Prescaler = 63;
  htim17.Init.CounterMode = TIM_COUNTERMODE_UP;
  htim17.Init.Period = 999;
  htim17.Init.ClockDivision = TIM_CLOCKDIVISION_DIV1;
  htim17.Init.RepetitionCounter = 0;
  htim17.Init.AutoReloadPreload = TIM_AUTORELOAD_PRELOAD_DISABLE;
  if (HAL_TIM_Base_Init(&htim17) != HAL_OK)
  {
    Error_Handler();
  }
  if (HAL_TIM_PWM_Init(&htim17) != HAL_OK)
  {
    Error_Handler();
  }
  sConfigOC.OCMode = TIM_OCMODE_PWM1;
  sConfigOC.Pulse = 0;
  sConfigOC.OCPolarity = TIM_OCPOLARITY_HIGH;
  sConfigOC.OCNPolarity = TIM_OCNPOLARITY_HIGH;
  sConfigOC.OCFastMode = TIM_OCFAST_DISABLE;
  sConfigOC.OCIdleState = TIM_OCIDLESTATE_RESET;
  sConfigOC.OCNIdleState = TIM_OCNIDLESTATE_RESET;
  if (HAL_TIM_PWM_ConfigChannel(&htim17, &sConfigOC, TIM_CHANNEL_1) != HAL_OK)
  {
    Error_Handler();
  }
  sBreakDeadTimeConfig.OffStateRunMode = TIM_OSSR_DISABLE;
  sBreakDeadTimeConfig.OffStateIDLEMode = TIM_OSSI_DISABLE;
  sBreakDeadTimeConfig.LockLevel = TIM_LOCKLEVEL_OFF;
  sBreakDeadTimeConfig.DeadTime = 0;
  sBreakDeadTimeConfig.BreakState = TIM_BREAK_DISABLE;
  sBreakDeadTimeConfig.BreakPolarity = TIM_BREAKPOLARITY_HIGH;
  sBreakDeadTimeConfig.BreakFilter = 0;
  sBreakDeadTimeConfig.AutomaticOutput = TIM_AUTOMATICOUTPUT_DISABLE;
  if (HAL_TIMEx_ConfigBreakDeadTime(&htim17, &sBreakDeadTimeConfig) != HAL_OK)
  {
    Error_Handler();
  }
  /* USER CODE BEGIN TIM17_Init 2 */
  HAL_TIM_MspPostInit(&htim17);
  HAL_TIM_Base_Start(&htim17);
  /* USER CODE END TIM17_Init 2 */
  HAL_TIM_MspPostInit(&htim17);

}

static void MX_USART2_UART_Init(void)
{

  huart2.Instance = USART2;
  huart2.Init.BaudRate = 115200;
  huart2.Init.WordLength = UART_WORDLENGTH_8B;
  huart2.Init.StopBits = UART_STOPBITS_1;
  huart2.Init.Parity = UART_PARITY_NONE;
  huart2.Init.Mode = UART_MODE_TX_RX;
  huart2.Init.HwFlowCtl = UART_HWCONTROL_NONE;
  huart2.Init.OverSampling = UART_OVERSAMPLING_16;
  huart2.Init.OneBitSampling = UART_ONE_BIT_SAMPLE_DISABLE;
  huart2.Init.ClockPrescaler = UART_PRESCALER_DIV1;
  huart2.AdvancedInit.AdvFeatureInit = UART_ADVFEATURE_NO_INIT;
  if (HAL_UART_Init(&huart2) != HAL_OK)
  {
    Error_Handler();
  }
  if (HAL_UARTEx_SetTxFifoThreshold(&huart2, UART_TXFIFO_THRESHOLD_1_8) != HAL_OK)
  {
    Error_Handler();
  }
  if (HAL_UARTEx_SetRxFifoThreshold(&huart2, UART_RXFIFO_THRESHOLD_1_8) != HAL_OK)
  {
    Error_Handler();
  }
  if (HAL_UARTEx_DisableFifoMode(&huart2) != HAL_OK)
  {
    Error_Handler();
  }

}

static void MX_DMA_Init(void)
{

  /* DMA controller clock enable */
  __HAL_RCC_DMA1_CLK_ENABLE();

  /* DMA interrupt init */
  /* DMA1_Channel1_IRQn interrupt configuration */
  HAL_NVIC_SetPriority(DMA1_Channel1_IRQn, 0, 0);
  HAL_NVIC_EnableIRQ(DMA1_Channel1_IRQn);
  /* DMA1_Channel2_3_IRQn interrupt configuration */
  HAL_NVIC_SetPriority(DMA1_Channel2_3_IRQn, 0, 0);
  HAL_NVIC_EnableIRQ(DMA1_Channel2_3_IRQn);
  /* DMA1_Ch4_7_DMAMUX1_OVR_IRQn interrupt configuration */
  HAL_NVIC_SetPriority(DMA1_Ch4_7_DMAMUX1_OVR_IRQn, 0, 0);
  HAL_NVIC_EnableIRQ(DMA1_Ch4_7_DMAMUX1_OVR_IRQn);

}

static void MX_GPIO_Init(void)
{
  GPIO_InitTypeDef GPIO_InitStruct = {0};

  /* GPIO Ports Clock Enable */
  __HAL_RCC_GPIOA_CLK_ENABLE();
  __HAL_RCC_GPIOB_CLK_ENABLE();
  __HAL_RCC_GPIOD_CLK_ENABLE();

  /*Configure GPIO pin Output Level */
  HAL_GPIO_WritePin(GPIOB, DIR_Pin|STEP_Pin|SLEEP_Pin|dbgLED_Pin, GPIO_PIN_RESET);

  /*Configure GPIO pins : DIR_Pin STEP_Pin SLEEP_Pin dbgLED_Pin */
  GPIO_InitStruct.Pin = DIR_Pin|STEP_Pin|SLEEP_Pin|dbgLED_Pin;
  GPIO_InitStruct.Mode = GPIO_MODE_OUTPUT_PP;
  GPIO_InitStruct.Pull = GPIO_NOPULL;
  GPIO_InitStruct.Speed = GPIO_SPEED_FREQ_LOW;
  HAL_GPIO_Init(GPIOB, &GPIO_InitStruct);

}

/* USER CODE BEGIN 4 */
//---------------------DESENVOLVIMENTO DAS FUNÇÕES-----------------------------*/
/*--------------------SENSORES LASER---------------------------------*/
/**
 * @brief Implementa um detector síncrono digital por aus~encia de portadora;
 * A portadora é gerada pelo timer 15, que pulsa o laser no sensor.
 * A frequência detectada pelo sensor é a mesma frequência da portadora;
 * Quando um objeto interrompe o feixe do laser, a portadora some, fato que é
 * indicado pela ausencia do sinal no ponto de interrupção do feixe.
 *
 * 	SENSn_freq - Frequencia medida no n-ésimo sensor
 * 	SENSn_flag - Bandeira de indicação do estado do feixe do laser sobre o sensor
 */
void getSensorsReadings(){
	//Base de tempo no loop infinito
    if(HAL_GetTick() - nowTick > sensUPDT){
		__HAL_TIM_SET_COUNTER(&htim3, 0);//Zera o contador do timer 3 para iniciar nova amostragem dos sensores
		//Sensor 1
		HAL_TIM_IC_Stop_DMA(&htim3, TIM_CHANNEL_1);
		HAL_TIM_IC_Start_DMA(&htim3, TIM_CHANNEL_1, inputCapture_SENS1, 2); //Inicia o DMA no canal 1, correspondente ao sensor 1 do sistema
		SENS1_capture = inputCapture_SENS1[1] - inputCapture_SENS1[0];
		if(SENS1_capture == 0){
			SENS1_flag = 1; //Encontrou um objeto na frente do sensor
			SENS1_freq = 0;
		} else {
			SENS1_freq = 1000000/SENS1_capture;
			SENS1_flag = 0;
		}
		inputCapture_SENS1[1] = 0;
		inputCapture_SENS1[0] = 0;
		//Sensor 2
		HAL_TIM_IC_Stop_DMA(&htim3, TIM_CHANNEL_2);
		HAL_TIM_IC_Start_DMA(&htim3, TIM_CHANNEL_2, inputCapture_SENS2, 2); //Inicia o DMA no canal 1, correspondente ao sensor 1 do sistema
		SENS2_capture = inputCapture_SENS2[1] - inputCapture_SENS2[0];
		if(SENS2_capture == 0){
			SENS2_flag = 1; //Encontrou um objeto na frente do sensor
			SENS2_freq = 0;
		} else {
			SENS2_freq = 1000000/SENS2_capture;
			SENS2_flag = 0;
		}
		inputCapture_SENS2[1] = 0;
		inputCapture_SENS2[0] = 0;
		//Sensor 3
		HAL_TIM_IC_Stop_DMA(&htim3, TIM_CHANNEL_3);
		HAL_TIM_IC_Start_DMA(&htim3, TIM_CHANNEL_3, inputCapture_SENS3, 2); //Inicia o DMA no canal 1, correspondente ao sensor 1 do sistema
		SENS3_capture = inputCapture_SENS3[1] - inputCapture_SENS3[0];
		if(SENS3_capture == 0){
			SENS3_flag = 1; //Encontrou um objeto na frente do sensor
			SENS3_freq = 0;
		} else {
			SENS3_freq = 1000000/SENS3_capture;
			SENS3_flag = 0;
		}
		inputCapture_SENS3[1] = 0;
		inputCapture_SENS3[0] = 0;
		//Sensor 4
		HAL_TIM_IC_Stop_DMA(&htim3, TIM_CHANNEL_4);
		HAL_TIM_IC_Start_DMA(&htim3, TIM_CHANNEL_4, inputCapture_SENS4, 2); //Inicia o DMA no canal 1, correspondente ao sensor 1 do sistema
		SENS4_capture = inputCapture_SENS4[1] - inputCapture_SENS4[0];
		if(SENS4_capture == 0){
			SENS4_flag = 1; //Encontrou um objeto na frente do sensor
			SENS4_freq = 0;
		} else {
		   SENS4_freq = 1000000/SENS4_capture;
		   SENS4_flag = 0;
		}
		inputCapture_SENS4[1] = 0;
		inputCapture_SENS4[0] = 0;
		//Atualiza a contagem do tick
		nowTick = HAL_GetTick();
    }
}
/*--------------------SERVO MOTOR-----------------------------------*/
/**
 * @brief Função para definição do angulo do servo motor ES08MA
 * Objetivo: mapear o valor do algulo em ticks do timeR;
 *
 * Utiliza o TIM16, que está gerando uma base de tempo de 1us.
 * O argumento da função é o ângulo desejadopara o servo, não retorna argumentos,
 * apenas define o duty cycle correspondente ao angulo desejado
 *
 */
void SetServoAngle(uint16_t angle){
	//Verificação da faixa
	if(angle > SERVO_MAX_ANGLE) angle = SERVO_MAX_ANGLE;
	if(angle < SERVO_MIN_ANGLE) angle = SERVO_MIN_ANGLE;
	//Mapeamento da fiaxa para os valores de ticks do timer
	uint32_t pulse_length = SERVO_MIN_US + ((uint32_t)angle*(SERVO_MAX_US-SERVO_MIN_US)/SERVO_MAX_ANGLE); //Realiza o mapeamento de acordo com as constantes do servo motor e a faixa 0-180 graus
	__HAL_TIM_SET_COMPARE(&htim16, TIM_CHANNEL_1, pulse_length);//Seta o duty de acorodo com o mapeamento do angulo desejado
}
/*--------------------MOTOR DE PASSO-----------------------------------*/
/**
 * @brief Move o motor de passo uma quantidade finita de passos a uma
 * velocidade constante definida pelo timer 6, de acordo com a direção escolhida pelo usuário:
 * '0' move o motor para frente (na esteira), '1' move o motor para trás (na esteira)
 */
void stepperMove(uint32_t steps, uint8_t direction)
{
	//Define a direção do motor
	if(direction == 0){
		HAL_GPIO_WritePin(DIR_GPIO_Port, DIR_Pin, GPIO_PIN_SET);
	} else {
		HAL_GPIO_WritePin(DIR_GPIO_Port, DIR_Pin, GPIO_PIN_RESET);
	}
	if(targetStepps == 0){
		//Se o motor concluiu a utima solicitação de passos
		targetStepps = steps;//Atualiza nova quantidade de passos
	}
	//Avaliar situação de busy do motor de passo

}
/*-------------------------------------------------------------------*/
/**
 * @brief Ajusta o ARR para mudar a frequência de interrupção do TIM6,
 * ajustando a velocidade do motor em passos/s
 */
void stepperSetSpeed(uint32_t steppsPerSeconds){
	//Verifica se o parametro passado é igual ou superior a velocidade máxima do mmotor de passo
	if(steppsPerSeconds >= STEPPER_MAX_VEL){
		steppsPerSeconds = STEPPER_MAX_VEL;
	}
	if(steppsPerSeconds <= STEPPER_MIN_VEL){
		steppsPerSeconds = STEPPER_MIN_VEL;
	}
	//Se não, calcula novo ARR baseado na velocidade
	uint32_t TIM6_intFreq = 2 * steppsPerSeconds;
	uint32_t newARR = ((TIM6_FREQUENCY/TIM6_intFreq) - 1);
	__HAL_TIM_SET_AUTORELOAD(&htim6, newARR); //Atualiza o ARR
	//__HAL_TIM_SET_COUNTER(&htim6, 0); //Zera o contador do timer para nova velocidade
}
/*-------------------------------------------------------------------*/
/**
 * @brief Para o motor liberando o eixo
 */
void stepperStopDisengaged(){
	stepperEN = 0; //Inibe a geração de pulsos do timer 6
	__HAL_TIM_DISABLE(&htim6); //Desativa o timer 6
	__HAL_TIM_SET_COUNTER(&htim6, 0); //Zera o contador do timer 6
	HAL_GPIO_WritePin(SLEEP_GPIO_Port, SLEEP_Pin, GPIO_PIN_RESET); //Desliga o driver a4988
	HAL_GPIO_WritePin(STEP_GPIO_Port, STEP_Pin, GPIO_PIN_RESET); //Prepara para borda de subida
}
/*-------------------------------------------------------------------*/
/**
 * @brief Para o motor mantendo o eixo travado
 */
void stepperStopEngaged(){
	stepperEN = 0; //Inibe a geração de pulsos do timer 6
	__HAL_TIM_DISABLE(&htim6); //Desativa o timer 6
	__HAL_TIM_SET_COUNTER(&htim6, 0); //Zera o contador do timer 6
	HAL_GPIO_WritePin(SLEEP_GPIO_Port, SLEEP_Pin, GPIO_PIN_SET); //Liga o driver a4988
	HAL_GPIO_WritePin(STEP_GPIO_Port, STEP_Pin, GPIO_PIN_RESET); //Prepara para borda de subida
}
/*-------------------------------------------------------------------*/
/**
 * @brief Ativa o modo follow stepps do motor de passo, quando chamada,
 * habilita o timer 6 e permite a continuidade da lógica de acionamento do motor,
 * fazendo-o girar até zerar o targetStepps
 */
void stepperFollowSteps(){
	HAL_GPIO_WritePin(SLEEP_GPIO_Port, SLEEP_Pin, GPIO_PIN_SET); //Liga o driver a4988
	HAL_GPIO_WritePin(STEP_GPIO_Port, STEP_Pin, GPIO_PIN_RESET); //Prepara para borda de subida
	stepperEN = 1; //Permite a geração de pulsos do timer 6
	pulse_ctrl = 1; //Reseta controle de pulsos
	__HAL_TIM_SET_COUNTER(&htim6, 0); //Zera o contador do timer 6
	__HAL_TIM_ENABLE(&htim6); //Ativa o timer 6
}
/*------------INTERRUPT SERVICE ROUTINES --------------------------------------*/
void HAL_TIM_PeriodElapsedCallback(TIM_HandleTypeDef *htim){
	//Avalia qual timer causou a interrupção
	if(htim == &htim6){
		STEPPER_TIM6_ISR(); //Se foi o timer 6, chama a função de controle do motor de passo
	}
}
/*---------DESENVOLVIMETO DAS ROTINAS DE INTERRUPÇÃO---------------------------*/
/**
 * @brief Função chamada na interrupção do timer 6 para controlar os
 * pulsos enviados ao driver a4988
 */
void STEPPER_TIM6_ISR(){
	//Se a interrupção foi causada pelo timer 6, verifica se pode dar um passo no motor
	if(stepperEN == 1){
		//Permitido o passo, verifica se chegou a zero
		if(targetStepps > 0){
			//Se a quantidade de passos for superior a 0
			HAL_GPIO_TogglePin(STEP_GPIO_Port, STEP_Pin); //Dá um toggle no pino de step
			//Lógica para coincidir a quantidade de passos com a geração de pulsos:
			if(pulse_ctrl){
				//Se já deu uma borda de subida
				targetStepps --;//Decrementa
			}
			pulse_ctrl = !pulse_ctrl;//Inverte o estado para garantir o dobro de toggles no pino STEP (um pulso)
		} else if(targetStepps == 0){
			HAL_GPIO_WritePin(STEP_GPIO_Port, STEP_Pin, GPIO_PIN_RESET); //Desliga a GPIO para o proximo trem de pulsos iniciar com a borda de subida
			movement_done_flag = 1;
		}
	}
}
/*-------------------------------------------------------------------*/

/*--------------------CONTROLE DE MODO DE OPERAÇÃO---------------------------*/
/**
 * @brief Verifica se o comando de toggle de modo foi recebido e alterna
 * entre OP_MODE_FSM e OP_MODE_DEBUG.
 * Deve ser chamada ANTES de handleAsyncCommands() e FSM() no loop principal.
 *
 * OP_MODE_FSM   -> recebeu 0xDD -> OP_MODE_DEBUG: para a FSM, motor travado,
 *                                   flash apagado, ouve só comandos assíncronos
 * OP_MODE_DEBUG -> recebeu 0xDD -> OP_MODE_FSM:   retoma a FSM do STATE_IDLE
 */

void handleModeToggle(void){
    if(!rxFrameReady) return;

    //Reset por software
		if(rxCMD == SW_RESET_MSG){
			rxFrameReady = 0;
			sendFrame(CMD_OK_MSG, SW_RESET_MSG); // Confirma antes de resetar
			HAL_Delay(50);                       // Pequena espera para o frame sair pelo TX
			__NVIC_SystemReset();                  // Reset por software via CMSIS
		}

    if(rxCMD != DEBUG_MODE_TOGGLE_MSG) return;

    rxFrameReady = 0; // Consome o frame
    sendFrame(CMD_OK_MSG, rxCMD); // Confirma recebimento

    if(operationMode == OP_MODE_FSM){
        operationMode = OP_MODE_DEBUG;
        stepperStopEngaged();
        flashPWM_Stop();
        sendFrame(CMD_OK_MSG, MODE_DEBUG_MSG); //Informa o modo de operação
        for(uint8_t i = 0; i < 6; i++){
            HAL_GPIO_TogglePin(dbgLED_GPIO_Port, dbgLED_Pin);
            HAL_Delay(80);
        }
    } else {
        operationMode = OP_MODE_FSM;
        state      = STATE_IDLE;
        last_state = STATE_NONE;
        sensStatusByteLast = 0xFF; //força reenvio de telemetria ao retornar ao debug
        sendFrame(CMD_OK_MSG, MODE_FSM_MSG); //Informa o modo de operação
        HAL_GPIO_WritePin(dbgLED_GPIO_Port, dbgLED_Pin, GPIO_PIN_SET);
        HAL_Delay(400);
        HAL_GPIO_WritePin(dbgLED_GPIO_Port, dbgLED_Pin, GPIO_PIN_RESET);
    }
}
/*-------------------- CONTROLE ASSÍNCRONO --------------------------*/
/**
 * @brief Handler do controle assíncrono da esteira
 * Define a aplicação de debug
 */
void handleAsyncCommands(void){
    if(operationMode != OP_MODE_DEBUG) return;
    if(!rxFrameReady) return;

    rxFrameReady = 0; // Consome o frame
    stepperMove(targetStepps, stepperDirInst);
    switch(rxCMD){
        case LIGHT_EN_MSG:
        	HAL_TIM_PWM_Start(&htim17, TIM_CHANNEL_1);
        	__HAL_TIM_SET_COMPARE(&htim17, TIM_CHANNEL_1, FLASH_SWEEP_MAX);
            sendFrame(CMD_OK_MSG, rxCMD);   break;
        case LIGHT_DISABLE_MSG:
        	flashPWM_Stop();
            sendFrame(CMD_OK_MSG, rxCMD);   break;
        case GATE_OPEN_MSG:
            SetServoAngle(openAngle);
            sendFrame(CMD_OK_MSG, rxCMD);   break;
        case GATE_CLOSE_MSG:
            SetServoAngle(closeAngle);
            sendFrame(CMD_OK_MSG, rxCMD);   break;
        case STPR_EN_MSG:
            stepperFollowSteps();
            sendFrame(CMD_OK_MSG, rxCMD);   break;
        case STPR_DISABLE_MSG:
            stepperStopDisengaged();
            sendFrame(CMD_OK_MSG, rxCMD);   break;
        case SET_STPR_FORWARD_MSG:
            stepperDirInst = 0;
            sendFrame(CMD_OK_MSG, rxCMD);   break;
        case SET_STPR_BACKWARD_MSG:
            stepperDirInst = 1;
            sendFrame(CMD_OK_MSG, rxCMD);   break;
        case SET_STPR_TGT_STPS_MSG:
            targetStepps = (uint32_t)rxDATA;
            sendFrame(CMD_OK_MSG, rxCMD);   break;
        default:
            sendFrame(CMD_ERR_MSG, 0x00);   break;
    }
}

/*--------------------MÁQUINA DE ESTADOS FINITOS---------------------------*/
/**
 * @brief Desenvolvimento da função Máquina de estados finitos, que implementa a rotina
 * da aplicação principal da esteira
 */
void FSM(void){
	stepperDirInst = 0; //Coloca a direção do motor de passo no sentido correto da FSM
    /* ========= ENTRY ACTION ========= */
    if(state != last_state)
    {
        switch(state)
        {
        case STATE_IDLE:
        	flashPWM_Stop();//Desliga o flash
            SetServoAngle(0);//Abre a cancela
            stepperFollowSteps(); //Manda o motor seguir os passos
            break;
        case STATE_OBJECT_DETECTED:
        	stepperFollowSteps(); //Manda o motor seguir os passos
            break;
        case STATE_WAIT_CLASSIFICATION:
        	flashPWM_Start(); //Inicializa o timer e reseta o Duty
            stepperStopEngaged(); //Para o motor com o eixo travado
            break;
        case STATE_ROUTE_A:
            SetServoAngle(closeAngle);//Abre a cancela
            flashPWM_Stop(); //Desliga o flash
            stepperFollowSteps(); //Manda o motor seguir os passos
            break;
        case STATE_ROUTE_B:
            SetServoAngle(openAngle);//Fecha a cancela
            flashPWM_Stop(); //Desliga o flash
            stepperFollowSteps(); //Manda o motor seguir os passos
            break;
        case STATE_NONE:
        	break;
        }
        last_state = state; //Iguala os estados para fechar a condição de entrada
    }
    /* ========= STATE MACHINE ========= */
    switch(state) {
		case STATE_IDLE:
			//No estado IDLE
			stepperMove(350, stepperDirInst); //Solicita passos do motor
			if(SENS1_flag){ //Verifica o estado do sensor 1
				SENS1_flag = 0;//consome evento
				state = STATE_OBJECT_DETECTED; //Avança para o próximo estado
				objDetectedMSG_flag = 1; //Seta a flag de envio da mensagem de objeto detectado
			}
			break;
		case STATE_OBJECT_DETECTED:
			//No estado STATE OBJECT_DETECTED
			stepperMove(350, stepperDirInst); //Solicita passos do motor
			if(SENS2_flag){//Verifica o sensor 2
				SENS2_flag = 0;
				state = STATE_WAIT_CLASSIFICATION;//Avança o estado
				classificationRequestMSG_flag = 1; //Seta a flag de envio da mensagem de solicitação de classificação
			}
			break;
		case STATE_WAIT_CLASSIFICATION:
			flashPWM_Sweep(); //Atualiza continuamente o sweep do flash enquanto nesse estado
		    if(rxFrameReady){
		        if(rxCMD == ROUTE_A_RECEIVE_MSG){
		            rxFrameReady = 0;
		            sendFrame(CMD_OK_MSG, rxCMD);
		            state = STATE_ROUTE_A;
		            routeAforwardingMSG_flag = 1;
		        } else if(rxCMD == ROUTE_B_RECEIVE_MSG){
		            rxFrameReady = 0;
		            sendFrame(CMD_OK_MSG, rxCMD);
		            state = STATE_ROUTE_B;
		            routeBforwardingMSG_flag = 1;
		        }
		    }
		    break;
		case STATE_ROUTE_A:
			//Na rota A
			stepperMove(350, stepperDirInst); //Solicita passos do motor
			if(SENS3_flag){ //Verifica o sensor da saída da rota A
				SENS3_flag = 0;
				state = STATE_IDLE;//Retorna para o estado inicial
				routeASuccesDeliveryMSG_flag = 1; //Seta a flag de entrega bem sucedida na rota A
			}
			break;
		case STATE_ROUTE_B:
			//Na rota B
			stepperMove(350, stepperDirInst); //Solicita passos do motor
			if(SENS4_flag){//Verifica o sensor da saíida da rota B
				SENS4_flag = 0;
				state = STATE_IDLE;//Retorna para o estado inicial
				routeBSuccesDeliveryMSG_flag = 1; //Seta a flag de entrega bem sucedida na rota B
			}
			break;
		default:
			state = STATE_IDLE;//Por default entra no estado IDLE
			break;
		}
}

/*--------------------FLASH PWM (TIM17 CH1) ----------------------------------*/
/**
 * @brief Inicia o PWM do flash com duty cycle especificado (0-19999)
 * Chamada no entry action de STATE_WAIT_CLASSIFICATION
 */
void flashPWM_Start(void){
    // Reinicia estado do sweep
    flashSweep_duty     = FLASH_SWEEP_MIN;
    flashSweep_dir      = 1;
    flashSweep_lastTick = HAL_GetTick();

    __HAL_TIM_SET_COMPARE(&htim17, TIM_CHANNEL_1, flashSweep_duty);
    HAL_TIM_PWM_Start(&htim17, TIM_CHANNEL_1);
}

/**
 * @brief Para o PWM do flash e garante que o pino fique em LOW
 * Chamada nos entry actions de STATE_ROUTE_A, STATE_ROUTE_B e STATE_IDLE
 */
void flashPWM_Stop(void){
    HAL_TIM_PWM_Stop(&htim17, TIM_CHANNEL_1);
    HAL_GPIO_WritePin(FLASH_PWM_GPIO_Port, FLASH_PWM_Pin, GPIO_PIN_RESET);
}

/*--------------------FLASH PWM SWEEP (fade-in / fade-out) -------------------*/
/**
 * @brief Atualiza o duty cycle do TIM17 para criar efeito fade-in/fade-out.
 * Deve ser chamada repetidamente no loop do STATE_WAIT_CLASSIFICATION.
 * Usa base de tempo própria (FLASH_SWEEP_PERIOD) para ser independente
 * da velocidade do loop principal.
 *
 * Parâmetros configuráveis via defines:
 *   FLASH_SWEEP_MIN    -- duty mínimo (piso do fade)
 *   FLASH_SWEEP_MAX    -- duty máximo (teto do fade)
 *   FLASH_SWEEP_STEP   -- tamanho do passo por intervalo (velocidade)
 *   FLASH_SWEEP_PERIOD -- intervalo entre passos em ms (cadência)
 */
void flashPWM_Sweep(void){
    if(HAL_GetTick() - flashSweep_lastTick < FLASH_SWEEP_PERIOD) return;
    flashSweep_lastTick = HAL_GetTick();

    int32_t next = (int32_t)flashSweep_duty + flashSweep_dir * (int32_t)FLASH_SWEEP_STEP;

    if(next >= (int32_t)FLASH_SWEEP_MAX){
        next = FLASH_SWEEP_MAX;
        flashSweep_dir = -1;
    } else if(next <= (int32_t)FLASH_SWEEP_MIN){
        next = FLASH_SWEEP_MIN;
        flashSweep_dir = 1;
    }

    flashSweep_duty = (uint32_t)next;
    __HAL_TIM_SET_COMPARE(&htim17, TIM_CHANNEL_1, flashSweep_duty);
}

/* USER CODE END 4 */

void Error_Handler(void)
{
  __disable_irq();
  while (1)
  {
  }
}
